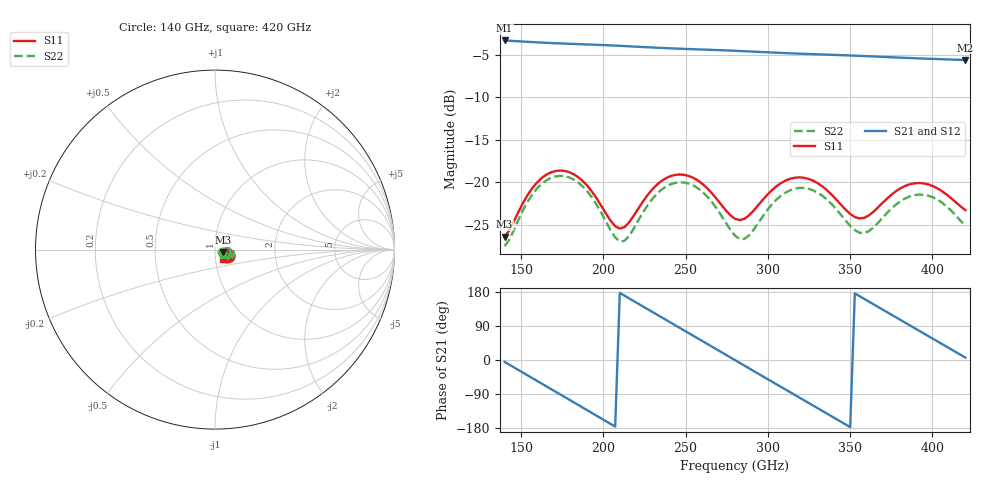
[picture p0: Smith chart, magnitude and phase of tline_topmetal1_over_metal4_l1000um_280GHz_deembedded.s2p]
! Created with skrf 2.0.1 (http://scikit-rf.org).
# GHz S DB R 50.0
!freq dBS11 angS11 dBS21 angS21 dBS12 angS12 dBS22 angS22
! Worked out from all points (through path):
!   101 points, 140 GHz to 420 GHz, reference 50 ohm
!   highest |S21| = -3.31 dB at 140 GHz (marker M1); lowest = -5.6 dB at 420 GHz (marker M2)
!   group delay of S21, straight-line fit = 7.03 ps
!   lowest |S11| = -26.4 dB at 140 GHz (marker M3), VSWR 1.10, Z = 54.7 - j1.74 ohm
!   |S11| at or under -10 dB: start of sweep to end of sweep
!   |S22| runs from -27.5 to -19.2 dB; largest |S21 - S12| = 7e-14
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140  -26.42 -19.5  -3.31 -5.0  -3.31 -5.0  -27.53 -15.5
151.2  -22.42 -0.2  -3.44 -33.6  -3.44 -33.6  -23.28 7.0
165.2  -19.13 -12.7  -3.58 -69.1  -3.58 -69.1  -19.80 -5.3
176.4  -18.66 -28.7  -3.68 -97.4  -3.68 -97.4  -19.29 -21.4
187.6  -19.88 -43.1  -3.76 -125.9  -3.76 -125.9  -20.52 -36.4
198.8  -22.79 -48.4  -3.84 -154.4  -3.84 -154.4  -23.62 -42.9
210  -25.45 -28.9  -3.94 177.0  -3.94 177.0  -26.97 -22.4
221.2  -23.11 -8.3  -4.05 148.6  -4.05 148.6  -24.51 3.4
235.2  -19.87 -14.9  -4.19 113.1  -4.19 113.1  -20.89 -2.6
254.8  -19.49 -38.6  -4.34 63.6  -4.34 63.6  -20.39 -27.6
268.8  -21.95 -48.1  -4.44 28.1  -4.44 28.1  -23.08 -39.3
280  -24.30 -37.6  -4.52 -0.3  -4.52 -0.3  -26.28 -28.9
291.2  -23.37 -19.0  -4.62 -28.7  -4.62 -28.7  -25.62 -2.8
305.2  -20.47 -20.0  -4.75 -64.1  -4.75 -64.1  -22.04 -1.0
316.4  -19.46 -31.1  -4.84 -92.3  -4.84 -92.3  -20.75 -12.3
327.6  -19.83 -43.3  -4.92 -120.5  -4.92 -120.5  -20.96 -25.3
350  -23.73 -46.4  -5.08 -177.1  -5.08 -177.1  -25.13 -31.3
361.2  -23.92 -29.6  -5.17 154.5  -5.17 154.5  -25.77 -12.4
375.2  -21.44 -24.3  -5.29 119.2  -5.29 119.2  -23.07 -4.2
394.8  -20.14 -40.2  -5.44 69.9  -5.44 69.9  -21.48 -20.8
408.8  -21.48 -49.9  -5.54 34.6  -5.54 34.6  -22.88 -32.6
420  -23.28 -47.3  -5.61 6.4  -5.61 6.4  -25.15 -31.5
